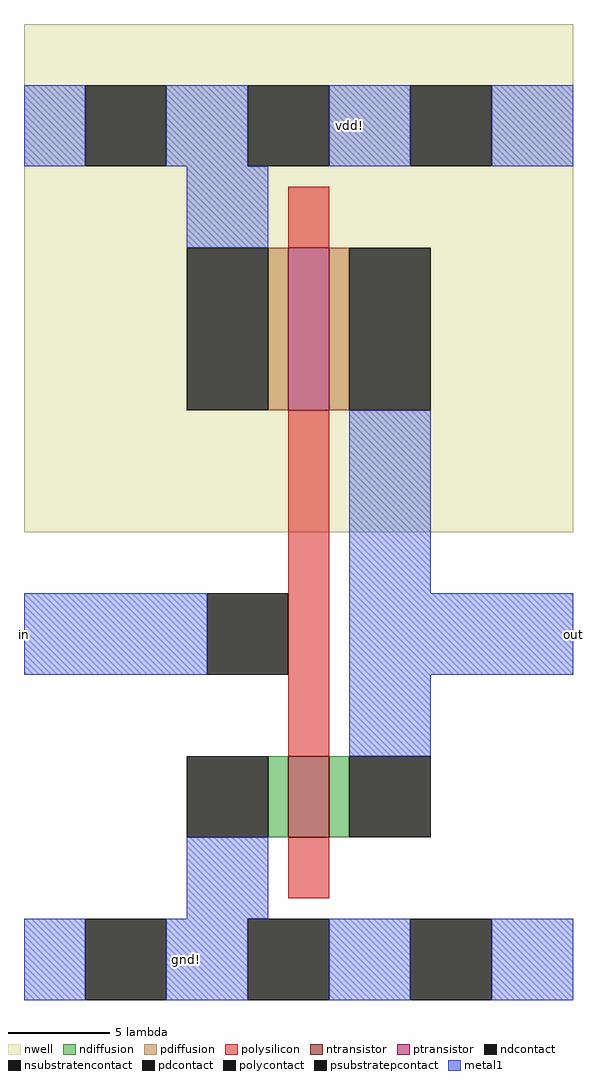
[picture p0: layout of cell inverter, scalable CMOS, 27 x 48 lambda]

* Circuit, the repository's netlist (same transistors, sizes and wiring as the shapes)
* SPICE3 file created from inverter.ext - technology: scmos

.option scale=0.09u

M1000 out in vdd vdd pfet w=8 l=2
+  ad=40 pd=26 as=40 ps=26
M1001 out in gnd Gnd nfet w=4 l=2
+  ad=20 pd=18 as=20 ps=18

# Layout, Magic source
magic
tech scmos
<< nwell >>
rect -8 -6 19 19
<< ntransistor >>
rect 5 -21 7 -17
<< ptransistor >>
rect 5 0 7 8
<< ndiffusion >>
rect 4 -21 5 -17
rect 7 -21 8 -17
<< pdiffusion >>
rect 4 0 5 8
rect 7 0 8 8
<< ndcontact >>
rect 0 -21 4 -17
rect 8 -21 12 -17
<< pdcontact >>
rect 0 0 4 8
rect 8 0 12 8
<< psubstratepcontact >>
rect -5 -29 -1 -25
rect 3 -29 7 -25
rect 11 -29 15 -25
<< nsubstratencontact >>
rect -5 12 -1 16
rect 3 12 7 16
rect 11 12 15 16
<< polysilicon >>
rect 5 8 7 11
rect 5 -17 7 0
rect 5 -24 7 -21
<< polycontact >>
rect 1 -13 5 -9
<< metal1 >>
rect -8 12 -5 16
rect -1 12 3 16
rect 7 12 11 16
rect 15 12 19 16
rect 0 8 4 12
rect 8 -9 12 0
rect -8 -13 1 -9
rect 8 -13 19 -9
rect 8 -17 12 -13
rect 0 -25 4 -21
rect -8 -29 -5 -25
rect -1 -29 3 -25
rect 7 -29 11 -25
rect 15 -29 19 -25
<< labels >>
rlabel metal1 8 14 8 14 5 vdd!
rlabel metal1 0 -27 0 -27 1 gnd!
rlabel metal1 -8 -13 -8 -9 3 in
rlabel metal1 19 -13 19 -9 7 out
<< end >>
